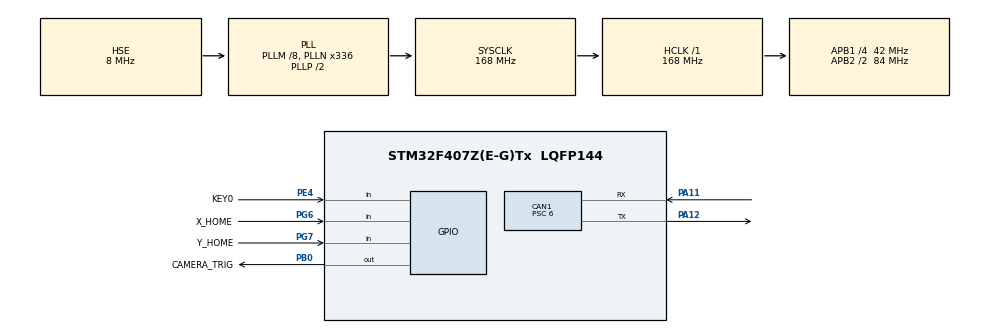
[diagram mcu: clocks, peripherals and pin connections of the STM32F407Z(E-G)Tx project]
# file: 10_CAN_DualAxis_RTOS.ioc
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CAN1.ABOM=ENABLE
CAN1.BS1=CAN_BS1_10TQ
CAN1.BS2=CAN_BS2_3TQ
CAN1.CalculateBaudRate=500000
CAN1.CalculateTimeBit=2000
CAN1.CalculateTimeQuantum=142.85714285714286
CAN1.NART=ENABLE
CAN1.Prescaler=6
CAN1.RFLM=DISABLE
CAN1.SJW=CAN_SJW_3TQ
CAN1.TXFP=ENABLE
FREERTOS.Queues01=MotionCommandQueue,5,16,1,Dynamic,NULL,NULL;MotionResultQueue,5,8,1,Dynamic,NULL,NULL
FREERTOS.Tasks01=MotionTask,32,512,StartMotionTask,Default,NULL,Dynamic,NULL,NULL
FREERTOS.configCHECK_FOR_STACK_OVERFLOW=2
Mcu.Family=STM32F4
Mcu.Name=STM32F407Z(E-G)Tx
Mcu.Package=LQFP144
NVIC.CAN1_RX0_IRQn=true\:5\:0\:false\:false\:true\:true\:true\:true\:true
NVIC.CAN1_RX1_IRQn=true\:5\:0\:false\:false\:true\:true\:true\:true\:true
NVIC.PriorityGroup=NVIC_PRIORITYGROUP_4
NVIC.TIM6_DAC_IRQn=true\:15\:0\:false\:false\:true\:false\:false\:true\:true
NVIC.TimeBase=TIM6_DAC_IRQn
NVIC.TimeBaseIP=TIM6
PA11.Mode=CAN_Activate
PA11.Signal=CAN1_RX
PA12.Mode=CAN_Activate
PA12.Signal=CAN1_TX
PA13.Mode=Serial_Wire
PA13.Signal=SYS_JTMS-SWDIO
PA14.Mode=Serial_Wire
PA14.Signal=SYS_JTCK-SWCLK
PB0.GPIO_Label=CAMERA_TRIG
PB0.PinState=GPIO_PIN_SET
PB0.Signal=GPIO_Output
PE4.GPIO_Label=KEY0
PE4.GPIO_PuPd=GPIO_PULLUP
PE4.Signal=GPIO_Input
PG6.GPIO_Label=X_HOME
PG6.GPIO_PuPd=GPIO_PULLUP
PG6.Signal=GPIO_Input
PG7.GPIO_Label=Y_HOME
PG7.GPIO_PuPd=GPIO_PULLUP
PG7.Signal=GPIO_Input
PH0-OSC_IN.Mode=HSE-External-Oscillator
PH0-OSC_IN.Signal=RCC_OSC_IN
PH1-OSC_OUT.Mode=HSE-External-Oscillator
PH1-OSC_OUT.Signal=RCC_OSC_OUT
ProjectManager.HeapSize=0x200
ProjectManager.StackSize=0x400
ProjectManager.TargetToolchain=MDK-ARM V5.32
RCC.48MHZClocksFreq_Value=84000000
RCC.AHBFreq_Value=168000000
RCC.APB1CLKDivider=RCC_HCLK_DIV4
RCC.APB1Freq_Value=42000000
RCC.APB1TimFreq_Value=84000000
RCC.APB2CLKDivider=RCC_HCLK_DIV2
RCC.APB2Freq_Value=84000000
RCC.APB2TimFreq_Value=168000000
RCC.CortexFreq_Value=168000000
RCC.HCLKFreq_Value=168000000
RCC.HSE_VALUE=8000000
RCC.HSI_VALUE=16000000
RCC.LSE_VALUE=32768
RCC.PLLM=8
RCC.PLLN=336
RCC.PLLSourceVirtual=RCC_PLLSOURCE_HSE
RCC.SYSCLKFreq_VALUE=168000000
RCC.SYSCLKSource=RCC_SYSCLKSOURCE_PLLCLK
RCC.VCOOutputFreq_Value=336000000
VP_FREERTOS_VS_CMSIS_V2.Mode=CMSIS_V2
VP_SYS_VS_tim6.Mode=TIM6
board=custom

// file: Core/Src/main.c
/* USER CODE BEGIN Header */
/**
  ******************************************************************************
  * @file           : main.c
  * @brief          : Main program body
  ******************************************************************************
  * @attention
  *
  * Copyright (c) 2026 STMicroelectronics.
  * All rights reserved.
  *
  * This software is licensed under terms that can be found in the LICENSE file
  * in the root directory of this software component.
  * If no LICENSE file comes with this software, it is provided AS-IS.
  *
  ******************************************************************************
  */
/* USER CODE END Header */
#include "main.h"
#include "cmsis_os.h"
#include "can.h"
#include "gpio.h"

/* USER CODE BEGIN Includes */
#include "mks_motor.h"
#include "motion_control.h"
#include "system_control.h"
/* USER CODE END Includes */

/* USER CODE BEGIN PTD */
typedef struct
{
    uint32_t magic;
    uint32_t boot_count;
    uint32_t reset_flags;
    uint32_t reset_flags_prev;

} BootLog_t;
/* USER CODE END PTD */

/* USER CODE BEGIN PD */
#define BKPSRAM_BASE_ADDR   0x40024000UL
#define BOOT_MAGIC          0xB007C0DEUL
/* USER CODE END PD */

/* USER CODE BEGIN PV */
MotionController_t Motion_X;
MotionController_t Motion_Y;

/*
 * Minimal reset-validity record.
 * It does not diagnose the RESET network; it only prevents a hidden reset
 * from being mistaken for a Motion/Home software failure during regression.
 */
volatile BootLog_t * const g_boot_log =
    (volatile BootLog_t *)BKPSRAM_BASE_ADDR;

volatile uint32_t g_boot_count = 0U;
volatile uint32_t g_reset_reason = 0U;
volatile uint32_t g_reset_reason_prev = 0U;
/* USER CODE END PV */

void SystemClock_Config(void);
void MX_FREERTOS_Init(void);
/* USER CODE BEGIN PFP */
static void BootLog_Init(void);
/* USER CODE END PFP */

/* USER CODE BEGIN 0 */
static void BootLog_Init(void)
{
    uint32_t csr = RCC->CSR;

    /*
     * Direct register access is intentional here: this executes before
     * HAL_Init(). We only need retention across MCU resets while VDD remains.
     */
    __HAL_RCC_PWR_CLK_ENABLE();
    PWR->CR |= PWR_CR_DBP;
    __DSB();

    __HAL_RCC_BKPSRAM_CLK_ENABLE();
    __DSB();

    if (g_boot_log->magic != BOOT_MAGIC)
    {
        g_boot_log->magic = BOOT_MAGIC;
        g_boot_log->boot_count = 0U;
        g_boot_log->reset_flags = 0U;
        g_boot_log->reset_flags_prev = 0U;
    }

    g_boot_log->reset_flags_prev =
        g_boot_log->reset_flags;

    g_boot_log->reset_flags =
        csr &
        (RCC_CSR_BORRSTF  |
         RCC_CSR_PINRSTF  |
         RCC_CSR_PORRSTF  |
         RCC_CSR_SFTRSTF  |
         RCC_CSR_IWDGRSTF |
         RCC_CSR_WWDGRSTF |
         RCC_CSR_LPWRRSTF);

    g_boot_log->boot_count++;

    g_boot_count =
        g_boot_log->boot_count;

    g_reset_reason =
        g_boot_log->reset_flags;

    g_reset_reason_prev =
        g_boot_log->reset_flags_prev;

    __HAL_RCC_CLEAR_RESET_FLAGS();
}
/* USER CODE END 0 */

int main(void)
{

  /* USER CODE BEGIN 1 */
  BootLog_Init();
  /* USER CODE END 1 */

  /* MCU Configuration--------------------------------------------------------*/

  /* Reset of all peripherals, Initializes the Flash interface and the Systick. */
  HAL_Init();

  /* Configure the system clock */
  SystemClock_Config();

  /* Initialize all configured peripherals */
  MX_GPIO_Init();
  MX_CAN1_Init();
  /* USER CODE BEGIN 2 */

  MKS_Motor_System_Init();
  STM32_bxCAN_Filter_Config();

  Motion_Init(&Motion_X, &Motor_X);
  Motion_Init(&Motion_Y, &Motor_Y);
  System_Init(&Motion_X, &Motion_Y);

  if (HAL_CAN_Start(&hcan1) != HAL_OK)
  {
      Error_Handler();
  }

  if (HAL_CAN_ActivateNotification(
          &hcan1,
          CAN_IT_RX_FIFO0_MSG_PENDING |
          CAN_IT_RX_FIFO1_MSG_PENDING) != HAL_OK)
  {
      Error_Handler();
  }

  /* USER CODE END 2 */

  /* Init scheduler */
  osKernelInitialize();  /* Call init function for freertos objects (in cmsis_os2.c) */
  MX_FREERTOS_Init();

  /* Start scheduler */
  osKernelStart();

  /* We should never get here as control is now taken by the scheduler */

  /* Infinite loop */
  while (1)
  {

  }
}

void SystemClock_Config(void)
{
  RCC_OscInitTypeDef RCC_OscInitStruct = {0};
  RCC_ClkInitTypeDef RCC_ClkInitStruct = {0};

  /** Configure the main internal regulator output voltage
  */
  __HAL_RCC_PWR_CLK_ENABLE();
  __HAL_PWR_VOLTAGESCALING_CONFIG(PWR_REGULATOR_VOLTAGE_SCALE1);

  /** Initializes the RCC Oscillators according to the specified parameters
  * in the RCC_OscInitTypeDef structure.
  */
  RCC_OscInitStruct.OscillatorType = RCC_OSCILLATORTYPE_HSE;
  RCC_OscInitStruct.HSEState = RCC_HSE_ON;
  RCC_OscInitStruct.PLL.PLLState = RCC_PLL_ON;
  RCC_OscInitStruct.PLL.PLLSource = RCC_PLLSOURCE_HSE;
  RCC_OscInitStruct.PLL.PLLM = 8;
  RCC_OscInitStruct.PLL.PLLN = 336;
  RCC_OscInitStruct.PLL.PLLP = RCC_PLLP_DIV2;
  RCC_OscInitStruct.PLL.PLLQ = 4;
  if (HAL_RCC_OscConfig(&RCC_OscInitStruct) != HAL_OK)
  {
    Error_Handler();
  }

  /** Initializes the CPU, AHB and APB buses clocks
  */
  RCC_ClkInitStruct.ClockType = RCC_CLOCKTYPE_HCLK|RCC_CLOCKTYPE_SYSCLK
                              |RCC_CLOCKTYPE_PCLK1|RCC_CLOCKTYPE_PCLK2;
  RCC_ClkInitStruct.SYSCLKSource = RCC_SYSCLKSOURCE_PLLCLK;
  RCC_ClkInitStruct.AHBCLKDivider = RCC_SYSCLK_DIV1;
  RCC_ClkInitStruct.APB1CLKDivider = RCC_HCLK_DIV4;
  RCC_ClkInitStruct.APB2CLKDivider = RCC_HCLK_DIV2;

  if (HAL_RCC_ClockConfig(&RCC_ClkInitStruct, FLASH_LATENCY_5) != HAL_OK)
  {
    Error_Handler();
  }
}

void HAL_TIM_PeriodElapsedCallback(TIM_HandleTypeDef *htim)
{
  if (htim->Instance == TIM6)
  {
    HAL_IncTick();
  }
}

void Error_Handler(void)
{
  __disable_irq();
  while (1)
  {
  }
}
